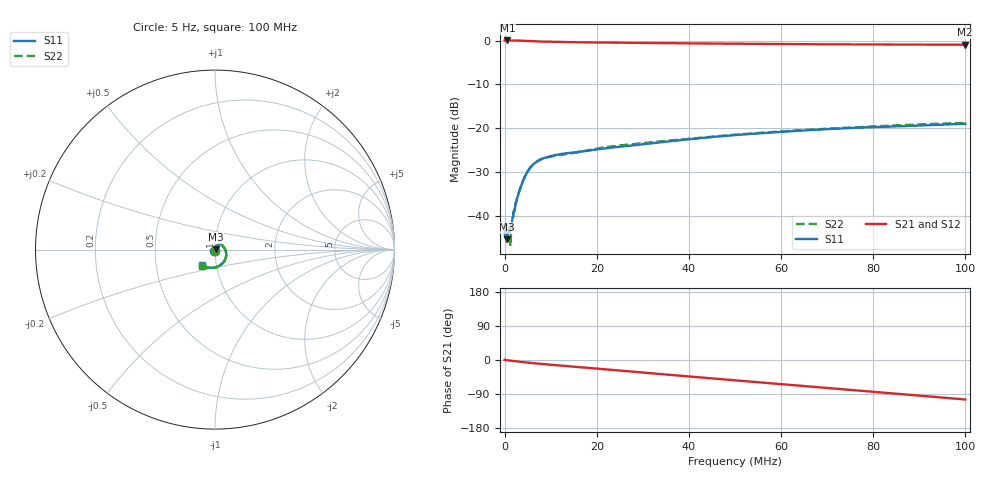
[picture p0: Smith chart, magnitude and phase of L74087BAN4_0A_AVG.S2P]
!Agilent Technologies,E5061B,MY49102235,A.02.00
!Date: Tue Jul 11 16:09:26 2023
!Data & Calibration Information:
!Freq	S11:SOLT2(ON)	S21:SOLT2(ON)	S12:SOLT2(ON)	S22:SOLT2(ON)
# Hz S RI R 50
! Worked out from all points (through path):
!   1600 points, 5 Hz to 100 MHz, reference 50 ohm
!   highest |S21| = 0.02 dB at 625.4 kHz (marker M1); lowest = -1.0 dB at 99.81 MHz (marker M2)
!   group delay of S21, straight-line fit = 2.84 ns
!   lowest |S11| = -45.3 dB at 500.3 kHz (marker M3), VSWR 1.01, Z = 50.5 + j0.268 ohm
!   |S11| at or under -10 dB: start of sweep to end of sweep
!   |S22| runs from -46.9 to -18.8 dB; largest |S21 - S12| = 0.0025
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5  -0.00522 -0.00566  1.002 0.00808  1 0.0102  -0.00147 -0.00755
500317.7  0.00471 0.00265  1.001 -0.0108  1.002 -0.0108  0.00492 0.00108
625395.8  0.00525 0.00326  1.002 -0.0143  1.002 -0.014  0.00624 0.00288
938091.3  0.00457 0.00541  1.001 -0.0208  1.001 -0.0205  0.00613 0.00482
1313326  0.00492 0.00599  1.001 -0.0296  1.001 -0.0299  0.00312 0.00442
1688560  0.00451 0.00792  0.9998 -0.0398  1.001 -0.04  0.00424 0.00709
2063795  0.00413 0.0108  1 -0.0492  0.9997 -0.0496  0.00457 0.0106
2376490  0.00474 0.0125  0.9984 -0.0566  0.9988 -0.0569  0.00539 0.0128
2939342  0.00682 0.016  0.9969 -0.0709  0.9965 -0.071  0.0058 0.0164
3502194  0.00872 0.0194  0.9944 -0.0851  0.9942 -0.0849  0.00781 0.02
4627897  0.0149 0.0257  0.9868 -0.1123  0.9865 -0.112  0.0145 0.0261
5878679  0.0239 0.0284  0.9753 -0.139  0.9752 -0.1389  0.0234 0.0286
7504695  0.0339 0.0266  0.961 -0.1678  0.9608 -0.1679  0.0337 0.0272
9380868  0.0416 0.022  0.9474 -0.1986  0.9471 -0.1985  0.0411 0.0221
1.669794e7  0.0539 0.00507  0.9 -0.3142  0.8998 -0.314  0.0537 0.00492
2.320201e7  0.0594 -0.00679  0.8508 -0.415  0.8507 -0.415  0.0613 -0.00806
3.333334e7  0.0624 -0.0285  0.7516 -0.5573  0.7515 -0.5571  0.0635 -0.0297
5.003127e7  0.0502 -0.0666  0.5452 -0.7407  0.5451 -0.7405  0.05 -0.0678
6.672921e7  0.0141 -0.0944  0.3028 -0.856  0.3029 -0.856  0.0149 -0.0954
8.33646e7  -0.029 -0.1002  0.0427 -0.8997  0.0426 -0.8997  -0.0289 -0.1026
9.981238e7  -0.071 -0.0867  -0.2171 -0.8692  -0.217 -0.8693  -0.0715 -0.0896
1e8  -0.0716 -0.0865  -0.2202 -0.8685  -0.2201 -0.8685  -0.0719 -0.0895
